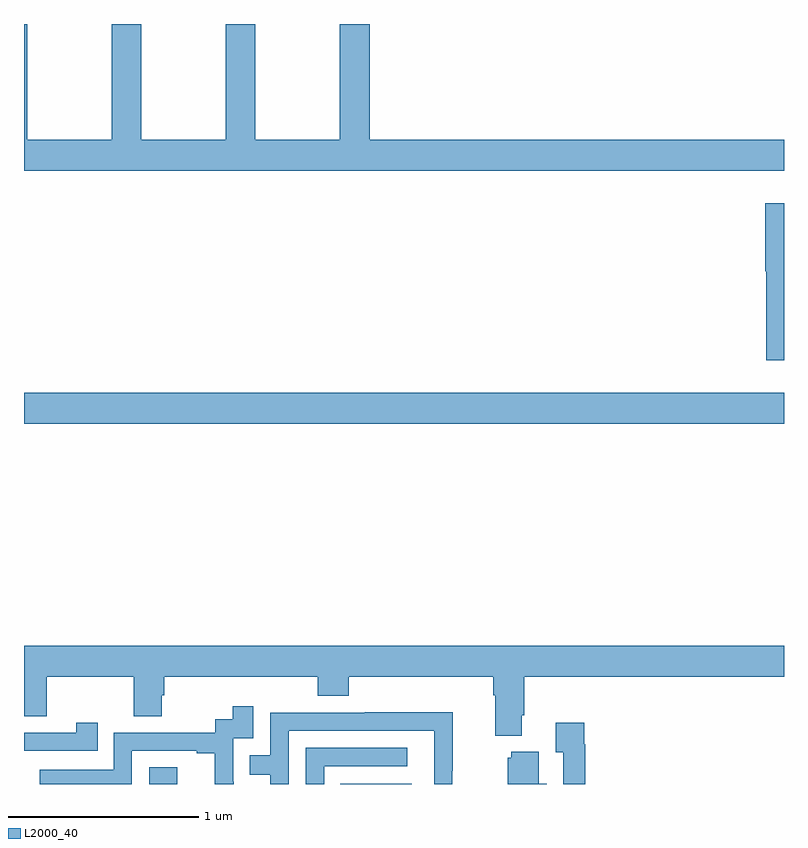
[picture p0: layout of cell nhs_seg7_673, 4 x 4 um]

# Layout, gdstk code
import gdstk
lib = gdstk.Library(unit=1e-6, precision=1e-09)
def R(c, l, rs):  # rectangles x0, y0, x1, y1
    for r in rs: c.add(gdstk.rectangle(r[:2], r[2:], *l))
def P(c, l, *ps):  # polygons
    for p in ps: c.add(gdstk.Polygon(p, *l))
L2000_40 = (2000, 40)

nhs_seg7_673 = lib.new_cell('nhs_seg7_673')
R(nhs_seg7_673, L2000_40, [(161.658,1052,161.806,1052.089), (162.664,1052,163.042,1052.002), (161,1053.896,165,1054.06)])
P(nhs_seg7_673, L2000_40, [(165,1055.392),(162.821,1055.392),(162.821,1056),(162.661,1056),(162.661,1055.392),(162.216,1055.392),(162.216,1056),(162.061,1056),(162.061,1055.392),(161.616,1055.392),(161.616,1056),(161.461,1056),(161.461,1055.392),(161.016,1055.392),(161.016,1056),(161,1056),(161,1055.228),(165,1055.228)],
  [(165,1055.056),(164.9,1055.056),(164.9,1054.698),(164.906,1054.698),(164.906,1054.23),(165,1054.23)],
  [(163.621,1052.362),(163.634,1052.362),(163.634,1052.564),(165,1052.564),(165,1052.728),(161,1052.728),(161,1052.356),(161.121,1052.356),(161.121,1052.564),(161.578,1052.564),(161.578,1052.356),(161.725,1052.356),(161.725,1052.466),(161.738,1052.466),(161.738,1052.564),(162.545,1052.564),(162.545,1052.465),(162.71,1052.465),(162.71,1052.564),(163.469,1052.564),(163.469,1052.468),(163.481,1052.468),(163.481,1052.255),(163.621,1052.255)],
  [(161.568,1052.175),(161.909,1052.175),(161.909,1052.163),(162.005,1052.163),(162.005,1052),(162.104,1052),(162.104,1052.012),(162.102,1052.012),(162.102,1052.241),(162.207,1052.241),(162.207,1052.41),(162.099,1052.41),(162.099,1052.34),(162.006,1052.34),(162.006,1052.271),(161.472,1052.271),(161.472,1052.076),(161.083,1052.076),(161.083,1052),(161.568,1052)],
  [(162.393,1052.28),(163.158,1052.28),(163.158,1052),(163.254,1052),(163.254,1052.071),(163.257,1052.071),(163.257,1052.378),(162.793,1052.378),(162.793,1052.376),(162.297,1052.376),(162.297,1052.151),(162.187,1052.151),(162.187,1052.05),(162.297,1052.05),(162.297,1052),(162.393,1052)],
  [(163.955,1052.21),(163.948,1052.21),(163.948,1052.323),(163.799,1052.323),(163.799,1052.167),(163.839,1052.167),(163.839,1052),(163.955,1052)],
  [(161.387,1052.323),(161.276,1052.323),(161.276,1052.271),(161,1052.271),(161,1052.175),(161.387,1052.175)],
  [(162.579,1052.094),(163.018,1052.094),(163.018,1052.19),(162.483,1052.19),(162.483,1052),(162.579,1052)],
  [(163.75,1052.002),(163.708,1052.002),(163.708,1052.17),(163.565,1052.17),(163.565,1052.139),(163.547,1052.139),(163.547,1052),(163.75,1052)])

lib.write_gds('nhs_seg7_673.gds')
